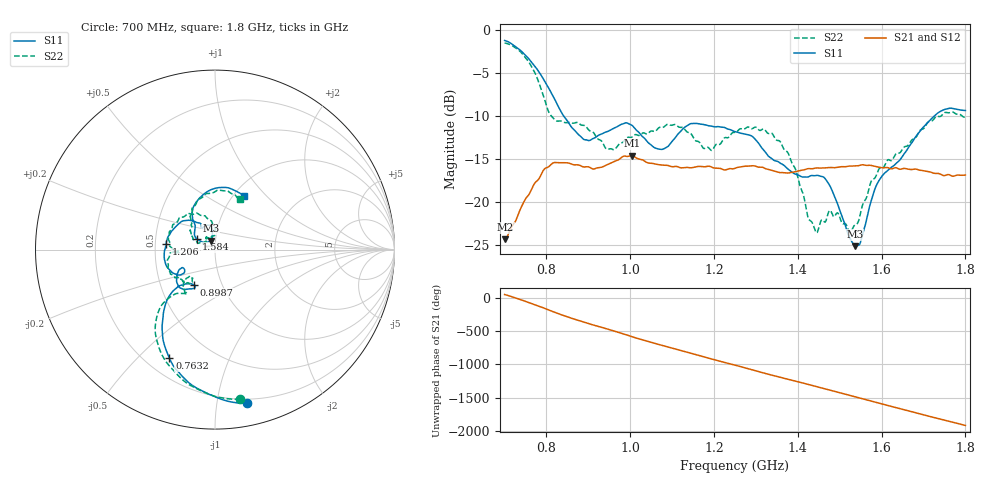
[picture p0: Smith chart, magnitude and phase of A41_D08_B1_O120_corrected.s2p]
! Created with skrf 1.9.0 (http://scikit-rf.org).
# Hz S RI R 50.0
!freq ReS11 ImS11 ReS21 ImS21 ReS12 ImS12 ReS22 ImS22
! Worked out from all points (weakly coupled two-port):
!   1601 points, 700 MHz to 1.8 GHz, reference 50 ohm
!   highest |S21| = -14.59 dB at 1.004 GHz (marker M1); lowest = -24.3 dB at 701.4 MHz (marker M2)
!   lowest |S11| = -25.2 dB at 1.536 GHz (marker M3), VSWR 1.12, Z = 47.4 + j4.73 ohm
!   |S11| at or under -10 dB: 841.3 MHz to 1.725 GHz (884.2 MHz wide, 68.9 % of centre)
!   |S22| runs from -23.6 to -1.5 dB; largest |S21 - S12| = 0.0035
!   S11 on the Smith chart (normalised r, x): 700 MHz: 0.17, -1.21; 763.2 MHz: 0.29, -0.62; 898.7 MHz: 0.74, -0.30; 1.206 GHz: 0.57, +0.04; 1.584 GHz: 0.81, +0.10; 1.8 GHz: 1.12, +0.76
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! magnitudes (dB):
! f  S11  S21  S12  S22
! 700 MHz  -1.2  -24.3  -24.1  -1.5
! 701.4 MHz  -1.2  -24.3  -24.0  -1.5
! 763.2 MHz  -3.7  -18.6  -18.6  -4.1
! 814.1 MHz  -7.5  -15.5  -15.5  -10.1
! 883.6 MHz  -12.5  -15.8  -15.7  -11.0
! 898.7 MHz  -12.8  -15.9  -15.9  -11.5
! 946.1 MHz  -11.8  -15.6  -15.7  -13.9
! 1.004 GHz  -11.1  -14.6  -14.7  -12.4
! 1.067 GHz  -13.8  -15.7  -15.6  -11.4
! 1.143 GHz  -10.9  -16.0  -16.0  -12.0
! 1.206 GHz  -11.2  -16.1  -16.1  -13.3
! 1.25 GHz  -11.8  -16.1  -16.0  -11.9
! 1.357 GHz  -15.4  -16.6  -16.5  -12.9
! 1.394 GHz  -16.7  -16.5  -16.5  -16.1
! 1.434 GHz  -16.9  -16.1  -16.1  -22.4
! 1.473 GHz  -17.8  -16.0  -16.0  -21.3
! 1.536 GHz  -25.2  -15.8  -15.8  -22.7
! 1.55 GHz  -24.6  -15.7  -15.7  -21.1
! 1.584 GHz  -18.5  -15.8  -15.9  -17.2
! 1.617 GHz  -16.2  -16.0  -16.0  -15.1
! 1.733 GHz  -9.7  -16.7  -16.7  -10.0
! 1.8 GHz  -9.3  -16.9  -16.9  -10.1
